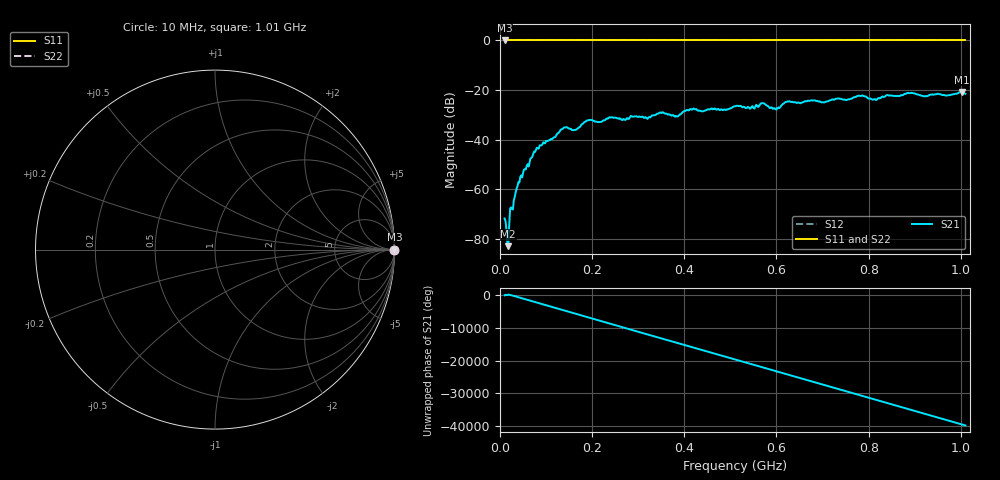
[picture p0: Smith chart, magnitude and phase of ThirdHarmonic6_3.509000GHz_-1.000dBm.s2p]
! 8/17/2025 11:28:55 AM
! C:\ANRITSUVNA\TEMP\TEMP.S2P
! CHANNEL.1
! TR.MEASUREMENT
! RAW.DATA
! RF.CORRECTION.OFF
! AVERAGING.OFF
! IF.BANDWIDTH: 5KHZ
! SWEEPTYPE:  FREQ.SWEEP(Linear)
! Reference Plane Port Info
! PORT:  PORT1  PORT2
! DISTANCE:  0  m  0  m
! TIME:  0  s  0  s
! PHASE.OFFSET:  0  deg.  0  deg.
! LOSS:  0  dB  0  dB
! REF.LOSS:  0  dB  0  dB
! REF.FREQ:  0  Hz  0  Hz
! Power Info
! POWER:  -20  dBm  -20  dBm
! EFF.POWER:  -20  dBm  -20  dBm
! SOURCE.ATTEN:  0  dB  0  dB
! TEST.ATTEN:  0  dB  0  dB
# GHZ S RI R 50.0
! FREQ.GHZ  S11RE  S11IM  S21RE  S21IM  S12RE  S12IM  S22RE  S22IM
!; PortSelection: Port_12
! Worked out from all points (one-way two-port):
!   501 points, 10 MHz to 1.01 GHz, reference 50 ohm
!   highest |S21| = -20.80 dB at 1.002 GHz (marker M1); lowest = -83.0 dB at 18 MHz (marker M2)
!   lowest |S11| = 0.0 dB at 10 MHz (marker M3)
!   |S11| at or under -10 dB: nowhere
!   |S22| runs from 0.0 to 0.0 dB; largest |S21 - S12| = 1.1
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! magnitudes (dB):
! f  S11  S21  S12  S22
! 10 MHz  0.0  -71.8  0.0  0.0
! 14 MHz  0.0  -76.1  0.0  0.0
! 18 MHz  0.0  -83.0  0.0  0.0
! 26 MHz  0.0  -68.0  0.0  0.0
! 40 MHz  0.0  -57.2  0.0  0.0
! 76 MHz  0.0  -45.0  0.0  0.0
! 136 MHz  0.0  -35.7  0.0  0.0
! 162 MHz  0.0  -36.1  0.0  0.0
! 178 MHz  0.0  -33.8  0.0  0.0
! 194 MHz  0.0  -32.1  0.0  0.0
! 322 MHz  0.0  -31.1  0.0  0.0
! 344 MHz  0.0  -29.5  0.0  0.0
! 382 MHz  0.0  -30.5  0.0  0.0
! 416 MHz  0.0  -27.9  0.0  0.0
! 510 MHz  0.0  -26.6  0.0  0.0
! 570 MHz  0.0  -25.3  0.0  0.0
! 596 MHz  0.0  -27.3  0.0  0.0
! 624 MHz  0.0  -24.6  0.0  0.0
! 678 MHz  0.0  -24.2  0.0  0.0
! 844 MHz  0.0  -22.2  0.0  0.0
! 1.002 GHz  0.0  -20.8  0.0  0.0
! 1.01 GHz  0.0  -21.5  0.0  0.0
